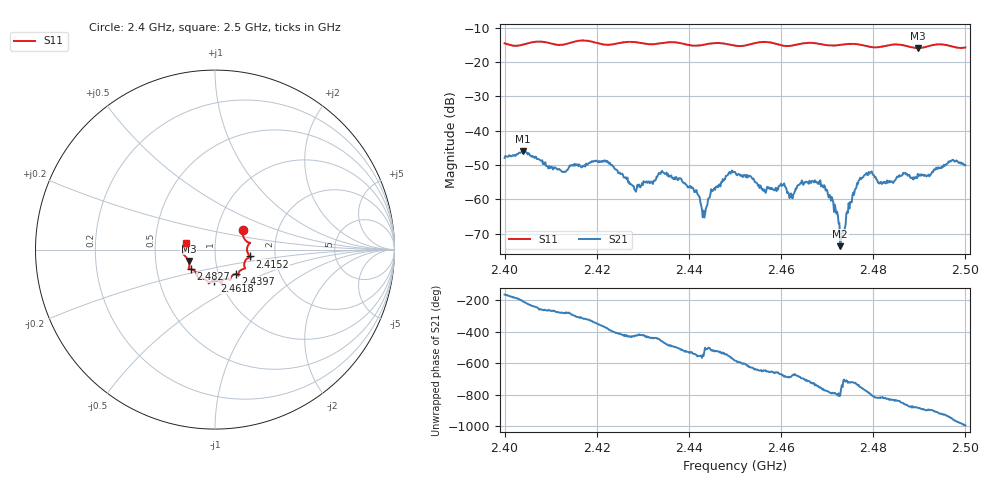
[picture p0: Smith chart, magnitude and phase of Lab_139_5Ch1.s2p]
# Hz S RI R 50
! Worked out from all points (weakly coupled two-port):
!   601 points, 2.4 GHz to 2.5 GHz, reference 50 ohm
!   highest |S21| = -45.94 dB at 2.404 GHz (marker M1); lowest = -73.7 dB at 2.4728 GHz (marker M2)
!   lowest |S11| = -15.9 dB at 2.4897 GHz (marker M3), VSWR 1.38, Z = 36.9 - j4.84 ohm
!   |S11| at or under -10 dB: start of sweep to end of sweep
!   S12 and S22 are empty: the file has one direction only
!   S11 on the Smith chart (normalised r, x): 2.4 GHz: 1.33, +0.29; 2.4152 GHz: 1.48, -0.12; 2.4397 GHz: 1.21, -0.34; 2.4618 GHz: 0.94, -0.33; 2.4827 GHz: 0.75, -0.17; 2.5 GHz: 0.72, +0.06
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2.4e9  0.155 0.1065  -0.00387 -0.00102  0 0  0 0
2.404e9  0.1739 0.0474  -0.00442 0.00243  0 0  0 0
2.412667e9  0.1797 -0.01  0.000496 0.00244  0 0  0 0
2.415167e9  0.1955 -0.0382  0.00164 0.00285  0 0  0 0
2.416667e9  0.2024 -0.0432  0.00197 0.00215  0 0  0 0
2.422e9  0.1675 -0.0644  0.00353 -0.000971  0 0  0 0
2.428167e9  0.1664 -0.1046  0.000453 -0.00131  0 0  0 0
2.433333e9  0.1299 -0.1338  0.00016 -0.0023  0 0  0 0
2.439667e9  0.1168 -0.1363  -0.00151 -0.000318  0 0  0 0
2.443333e9  0.087 -0.1579  -0.000528 -0.000113  0 0  0 0
2.445333e9  0.0837 -0.1698  -0.00129 -0.000479  0 0  0 0
2.45e9  0.0649 -0.1619  -0.00179 0.00174  0 0  0 0
2.461833e9  -0.00322 -0.1726  0.000885 0.00055  0 0  0 0
2.466667e9  -0.0348 -0.188  0.00184 -0.000146  0 0  0 0
2.470833e9  -0.0567 -0.1654  0.000314 -0.000899  0 0  0 0
2.472833e9  -0.0796 -0.1599  1.36e-05 -0.000207  0 0  0 0
2.473333e9  -0.0837 -0.1599  0.000276 -0.00018  0 0  0 0
2.477333e9  -0.0972 -0.1504  0.00161 -0.00112  0 0  0 0
2.482667e9  -0.1348 -0.1087  -0.000358 -0.00167  0 0  0 0
2.483333e9  -0.14 -0.1085  -0.0006 -0.00169  0 0  0 0
2.489667e9  -0.1471 -0.0639  -0.00225 -0.000653  0 0  0 0
2.5e9  -0.1595 0.0386  0.000359 0.00314  0 0  0 0
